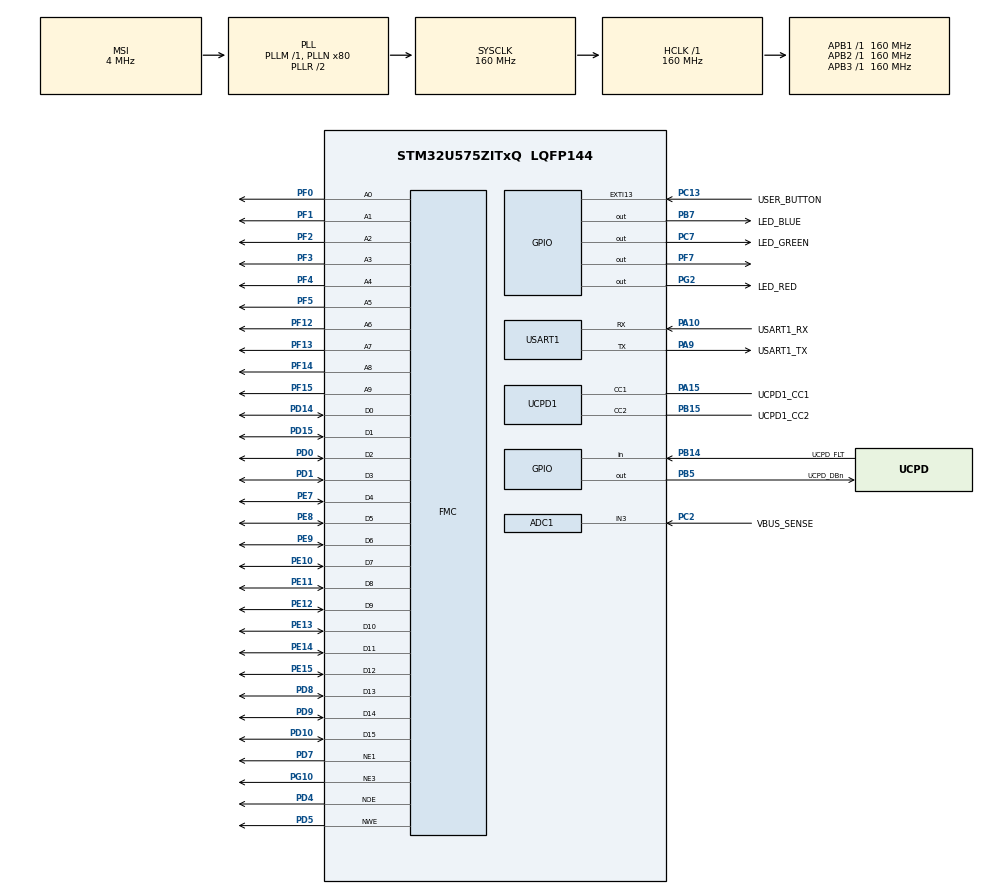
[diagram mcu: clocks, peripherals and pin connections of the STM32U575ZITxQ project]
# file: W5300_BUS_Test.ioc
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ADC1.NbrOfConversion=1
ADC1.Resolution=ADC_RESOLUTION_14B
ADC1.master=1
CORTEX_M33_NS.userName=CORTEX_M33
DCACHE1.DCACHE_Read_Burst_Type=DCACHE_READ_BURST_INCR
FMC.AddressSetupTime1=5
FMC.AddressSetupTime2=5
FMC.BusTurnAroundDuration1=5
FMC.BusTurnAroundDuration2=5
FMC.DataSetupTime1=5
FMC.DataSetupTime2=5
FMC.WriteOperation1=FMC_WRITE_OPERATION_ENABLE
FMC.WriteOperation2=FMC_WRITE_OPERATION_ENABLE
ICACHE.Size=ICACHE_REGIONSIZE_2MB
Mcu.Family=STM32U5
Mcu.Name=STM32U575ZITxQ
Mcu.Package=LQFP144
NVIC.PriorityGroup=NVIC_PRIORITYGROUP_3
PA10.GPIO_Label=USART1_RX
PA10.GPIO_PuPd=GPIO_PULLDOWN
PA10.GPIO_Speed=GPIO_SPEED_FREQ_VERY_HIGH
PA10.Mode=Asynchronous
PA10.Signal=USART1_RX
PA13\ (JTMS/SWDIO).Mode=Trace_Asynchronous_SW
PA13\ (JTMS/SWDIO).Signal=DEBUG_JTMS-SWDIO
PA14\ (JTCK/SWCLK).Mode=Trace_Asynchronous_SW
PA14\ (JTCK/SWCLK).Signal=DEBUG_JTCK-SWCLK
PA15\ (JTDI).GPIO_Label=UCPD1_CC1
PA15\ (JTDI).Mode=Sink_AllSignals
PA15\ (JTDI).Signal=UCPD1_CC1
PA9.GPIO_Label=USART1_TX
PA9.GPIO_PuPd=GPIO_PULLDOWN
PA9.GPIO_Speed=GPIO_SPEED_FREQ_VERY_HIGH
PA9.Mode=Asynchronous
PA9.Signal=USART1_TX
PB14.GPIO_Label=UCPD_FLT
PB14.Signal=GPIO_Input
PB15.GPIO_Label=UCPD1_CC2
PB15.Mode=Sink_AllSignals
PB15.Signal=UCPD1_CC2
PB3\ (JTDO/TRACESWO).Mode=Trace_Asynchronous_SW
PB3\ (JTDO/TRACESWO).Signal=DEBUG_JTDO-SWO
PB5.GPIO_Label=UCPD_DBn
PB5.Signal=GPIO_Output
PB7.GPIO_Label=LED_BLUE
PB7.GPIO_ModeDefaultOutputPP=GPIO_MODE_OUTPUT_PP
PB7.GPIO_PuPd=GPIO_PULLUP
PB7.GPIO_Speed=GPIO_SPEED_FREQ_HIGH
PB7.Signal=GPIO_Output
PC13.GPIO_Label=USER_BUTTON
PC13.GPIO_ModeDefaultEXTI=GPIO_MODE_IT_FALLING
PC13.Signal=GPXTI13
PC14-OSC32_IN\ (PC14).Mode=LSE-External-Oscillator
PC14-OSC32_IN\ (PC14).Signal=RCC_OSC32_IN
PC15-OSC32_OUT\ (PC15).Mode=LSE-External-Oscillator
PC15-OSC32_OUT\ (PC15).Signal=RCC_OSC32_OUT
PC2.GPIO_Label=VBUS_SENSE
PC2.Mode=IN3-Single-Ended
PC2.Signal=ADC1_IN3
PC7.GPIO_Label=LED_GREEN
PC7.GPIO_PuPd=GPIO_PULLUP
PC7.GPIO_Speed=GPIO_SPEED_FREQ_HIGH
PC7.Signal=GPIO_Output
PD0.Signal=FMC_D2_DA2
PD1.Signal=FMC_D3_DA3
PD10.Signal=FMC_D15_DA15
PD14.Signal=FMC_D0_DA0
PD15.Signal=FMC_D1_DA1
PD4.Signal=FMC_NOE
PD5.Signal=FMC_NWE
PD7.Mode=NorPsramChipSelect1_1
PD7.Signal=FMC_NE1
PD8.Signal=FMC_D13_DA13
PD9.Signal=FMC_D14_DA14
PE10.Signal=FMC_D7_DA7
PE11.Signal=FMC_D8_DA8
PE12.Signal=FMC_D9_DA9
PE13.Signal=FMC_D10_DA10
PE14.Signal=FMC_D11_DA11
PE15.Signal=FMC_D12_DA12
PE7.Signal=FMC_D4_DA4
PE8.Signal=FMC_D5_DA5
PE9.Signal=FMC_D6_DA6
PF0.Signal=FMC_A0
PF1.Signal=FMC_A1
PF12.Signal=FMC_A6
PF13.Signal=FMC_A7
PF14.Signal=FMC_A8
PF15.Signal=FMC_A9
PF2.Signal=FMC_A2
PF3.Signal=FMC_A3
PF4.Signal=FMC_A4
PF5.Signal=FMC_A5
PF7.Signal=GPIO_Output
PG10.Mode=NorPsramChipSelect3_2
PG10.Signal=FMC_NE3
PG2.GPIO_Label=LED_RED
PG2.GPIO_ModeDefaultOutputPP=GPIO_MODE_OUTPUT_PP
PG2.GPIO_PuPd=GPIO_PULLUP
PG2.GPIO_Speed=GPIO_SPEED_FREQ_HIGH
PG2.Signal=GPIO_Output
PWR.PowerMode=PWR_SMPS_SUPPLY
ProjectManager.HeapSize=0x200
ProjectManager.StackSize=0x400
ProjectManager.TargetToolchain=STM32CubeIDE
RCC.ADCFreq_Value=16000000
RCC.AHBFreq_Value=160000000
RCC.APB1Freq_Value=160000000
RCC.APB1TimFreq_Value=160000000
RCC.APB2Freq_Value=160000000
RCC.APB2TimFreq_Value=160000000
RCC.APB3Freq_Value=160000000
RCC.CortexFreq_Value=160000000
RCC.DACCLockSelectionVirtual=RCC_DAC1CLKSOURCE_LSI
RCC.DACCLockSelectionVirtualString=RCC_DAC1CLKSOURCE_LSI
RCC.EPOD_VALUE=4000000
RCC.HCLKFreq_Value=160000000
RCC.HSE_VALUE=16000000
RCC.HSI48_VALUE=48000000
RCC.HSI_VALUE=16000000
RCC.LSIDIV_VALUE=32000
RCC.MSI_VALUE=4000000
RCC.PLLN=80
RCC.SYSCLKFreq_VALUE=160000000
RCC.SYSCLKSource=RCC_SYSCLKSOURCE_PLLCLK
RCC.USBFreq_Value=48000000
RCC.VCOOutputFreq_Value=320000000
SH.FMC_A0.0=FMC_A0,10b-a1
SH.FMC_A0.1=FMC_A0,10b-a2
SH.FMC_A1.0=FMC_A1,10b-a1
SH.FMC_A1.1=FMC_A1,10b-a2
SH.FMC_A2.0=FMC_A2,10b-a1
SH.FMC_A2.1=FMC_A2,10b-a2
SH.FMC_A3.0=FMC_A3,10b-a1
SH.FMC_A3.1=FMC_A3,10b-a2
SH.FMC_A4.0=FMC_A4,10b-a1
SH.FMC_A4.1=FMC_A4,10b-a2
SH.FMC_A5.0=FMC_A5,10b-a1
SH.FMC_A5.1=FMC_A5,10b-a2
SH.FMC_A6.0=FMC_A6,10b-a1
SH.FMC_A6.1=FMC_A6,10b-a2
SH.FMC_A7.0=FMC_A7,10b-a1
SH.FMC_A7.1=FMC_A7,10b-a2
SH.FMC_A8.0=FMC_A8,10b-a1
SH.FMC_A8.1=FMC_A8,10b-a2
SH.FMC_A9.0=FMC_A9,10b-a1
SH.FMC_A9.1=FMC_A9,10b-a2
SH.FMC_D0_DA0.0=FMC_D0,16b-d1
SH.FMC_D0_DA0.1=FMC_D0,16b-d2
SH.FMC_D10_DA10.0=FMC_D10,16b-d1
SH.FMC_D10_DA10.1=FMC_D10,16b-d2
SH.FMC_D11_DA11.0=FMC_D11,16b-d1
SH.FMC_D11_DA11.1=FMC_D11,16b-d2
SH.FMC_D12_DA12.0=FMC_D12,16b-d1
SH.FMC_D12_DA12.1=FMC_D12,16b-d2
SH.FMC_D13_DA13.0=FMC_D13,16b-d1
SH.FMC_D13_DA13.1=FMC_D13,16b-d2
SH.FMC_D14_DA14.0=FMC_D14,16b-d1
SH.FMC_D14_DA14.1=FMC_D14,16b-d2
SH.FMC_D15_DA15.0=FMC_D15,16b-d1
SH.FMC_D15_DA15.1=FMC_D15,16b-d2
SH.FMC_D1_DA1.0=FMC_D1,16b-d1
SH.FMC_D1_DA1.1=FMC_D1,16b-d2
SH.FMC_D2_DA2.0=FMC_D2,16b-d1
SH.FMC_D2_DA2.1=FMC_D2,16b-d2
SH.FMC_D3_DA3.0=FMC_D3,16b-d1
SH.FMC_D3_DA3.1=FMC_D3,16b-d2
SH.FMC_D4_DA4.0=FMC_D4,16b-d1
SH.FMC_D4_DA4.1=FMC_D4,16b-d2
SH.FMC_D5_DA5.0=FMC_D5,16b-d1
SH.FMC_D5_DA5.1=FMC_D5,16b-d2
SH.FMC_D6_DA6.0=FMC_D6,16b-d1
SH.FMC_D6_DA6.1=FMC_D6,16b-d2
SH.FMC_D7_DA7.0=FMC_D7,16b-d1
SH.FMC_D7_DA7.1=FMC_D7,16b-d2
SH.FMC_D8_DA8.0=FMC_D8,16b-d1
SH.FMC_D8_DA8.1=FMC_D8,16b-d2
SH.FMC_D9_DA9.0=FMC_D9,16b-d1
SH.FMC_D9_DA9.1=FMC_D9,16b-d2
SH.FMC_NOE.0=FMC_NOE,Sram1
SH.FMC_NOE.1=FMC_NOE,Sram2
SH.FMC_NWE.0=FMC_NWE,Sram1
SH.FMC_NWE.1=FMC_NWE,Sram2
USART1.VirtualMode-Asynchronous=VM_ASYNC
VP_DCACHE1_VS_DCACHE.Mode=DCACHE_Activate
VP_ICACHE_VS_ENABLE_ICACHE_MEMORY.Mode=Memoryregions
VP_ICACHE_VS_ICACHE.Mode=DefaultMode
VP_LPBAMQUEUE_VS_QUEUE.Mode=QUEUEMODE
VP_LPBAM_VS_SIG1.Mode=SmartRun
VP_LPBAM_VS_SIG4.Mode=LPDMA1
VP_PWR_VS_DBSignals.Mode=DisableDeadBatterySignals
VP_PWR_VS_LPOM.Mode=PowerOptimisation
VP_PWR_VS_SECSignals.Mode=Security/Privilege
board=NUCLEO-U575ZI-Q

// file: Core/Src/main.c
/* USER CODE BEGIN Header */
/**
  ******************************************************************************
  * @file           : main.c
  * @brief          : Main program body
  ******************************************************************************
  * @attention
  *
  * Copyright (c) 2022 STMicroelectronics.
  * All rights reserved.
  *
  * This software is licensed under terms that can be found in the LICENSE file
  * in the root directory of this software component.
  * If no LICENSE file comes with this software, it is provided AS-IS.
  *
  ******************************************************************************
  */
/* USER CODE END Header */
#include "main.h"

/* USER CODE BEGIN Includes */
#include "socket.h"
#include "wizchip_conf.h"
#include "w5300.h"
#include "loopback.h"
/* USER CODE END Includes */

/* USER CODE BEGIN PTD */

#define RESET_W5300_GPIO_Port			GPIOF
#define RESET_W5300_Pin					GPIO_PIN_7

#define true					1
#define false					0

#define SOCK_TCPS       0
#define SOCK_UDPS       1
#define PORT_TCPS		5000
#define PORT_UDPS       3000
/* USER CODE END PTD */

ADC_HandleTypeDef hadc1;

DCACHE_HandleTypeDef hdcache1;

UART_HandleTypeDef huart1;

SRAM_HandleTypeDef hsram1;
SRAM_HandleTypeDef hsram2;

/* USER CODE BEGIN PV */
uint8_t wiznet_memsize[2][8] = {{8,8,8,8,8,8,8,8}, {8,8,8,8,8,8,8,8}};

#define ETH_MAX_BUF_SIZE		2048

uint8_t ethBuf0[ETH_MAX_BUF_SIZE];
uint8_t ethBuf1[ETH_MAX_BUF_SIZE];

wiz_NetInfo gWIZNETINFO = {
		.mac = {0x00, 0x08, 0xdc, 0, 0, 0},
		.ip = {192, 168, 15, 111},
		.sn = {255, 255, 255, 0},
		.gw = {192, 168, 15, 1},
		.dns = {0, 0, 0, 0},
		.dhcp = NETINFO_STATIC
};
wiz_NetInfo gWIZNETINFO1 = {
		.mac = {0x00, 0x08, 0xdc, 0, 0, 1},
		.ip = {192, 168, 15, 112},
		.sn = {255, 255, 255, 0},
		.gw = {192, 168, 15, 1},
		.dns = {0, 0, 0, 0},
		.dhcp = NETINFO_STATIC
};

/* USER CODE END PV */

void SystemClock_Config(void);
static void SystemPower_Config(void);
static void MX_GPIO_Init(void);
static void MX_ADC1_Init(void);
static void MX_UCPD1_Init(void);
static void MX_USART1_UART_Init(void);
static void MX_FMC_Init(void);
static void MX_DCACHE1_Init(void);
static void MX_ICACHE_Init(void);
/* USER CODE BEGIN PFP */
uint8_t rxData[2];

int _write(int fd, char *str, int len)
{
	for(int i=0; i<len; i++)
	{
		HAL_UART_Transmit(&huart1, (uint8_t *)&str[i], 1, 0xFFFF);
	}
	return len;
}

void HAL_UART_RxCpltCallback(UART_HandleTypeDef *huart) {

    /*
        This will be called once data is received successfully,
        via interrupts.
    */

     /*
       loop back received data
     */
     HAL_UART_Receive_IT(&huart1, rxData, 1);
     HAL_UART_Transmit(&huart1, rxData, 1, 1000);
}

void Reset_W5300()
{
	HAL_GPIO_WritePin(RESET_W5300_GPIO_Port, RESET_W5300_Pin, GPIO_PIN_RESET);
	HAL_Delay(10);
	HAL_GPIO_WritePin(RESET_W5300_GPIO_Port, RESET_W5300_Pin, GPIO_PIN_SET);
	HAL_Delay(100);
}
#if 0
void W5300_write(uint32_t addr, iodata_t wd)
{
	_W5300_DATA(addr) = wd;
}

iodata_t W5300_read(uint32_t addr)
{
	return _W5300_DATA(addr);
}
#endif
void W5300_write(uint32_t ChipAddr, uint32_t addr, iodata_t wd)
{
	_W5300_DATA(ChipAddr, addr) = wd;
}

iodata_t W5300_read(uint32_t ChipAddr, uint32_t addr)
{
	return _W5300_DATA(ChipAddr, addr);
}
void W5300CsEnable(void)
{

}
void W5300CsDisable(void)
{

}
void print_network_information(void)
{
    wizchip_getnetinfo(W5300_BANK_ADDR1, &gWIZNETINFO);
    printf("Mac address: %02x:%02x:%02x:%02x:%02x:%02x\n\r",gWIZNETINFO.mac[0],gWIZNETINFO.mac[1],gWIZNETINFO.mac[2],gWIZNETINFO.mac[3],gWIZNETINFO.mac[4],gWIZNETINFO.mac[5]);
    printf("IP address : %d.%d.%d.%d\n\r",gWIZNETINFO.ip[0],gWIZNETINFO.ip[1],gWIZNETINFO.ip[2],gWIZNETINFO.ip[3]);
    printf("SM Mask    : %d.%d.%d.%d\n\r",gWIZNETINFO.sn[0],gWIZNETINFO.sn[1],gWIZNETINFO.sn[2],gWIZNETINFO.sn[3]);
    printf("Gate way   : %d.%d.%d.%d\n\r",gWIZNETINFO.gw[0],gWIZNETINFO.gw[1],gWIZNETINFO.gw[2],gWIZNETINFO.gw[3]);
    printf("DNS Server : %d.%d.%d.%d\n\r",gWIZNETINFO.dns[0],gWIZNETINFO.dns[1],gWIZNETINFO.dns[2],gWIZNETINFO.dns[3]);
    wizchip_getnetinfo(W5300_BANK_ADDR3, &gWIZNETINFO1);
	printf("Mac address: %02x:%02x:%02x:%02x:%02x:%02x\n\r",gWIZNETINFO1.mac[0],gWIZNETINFO1.mac[1],gWIZNETINFO1.mac[2],gWIZNETINFO1.mac[3],gWIZNETINFO1.mac[4],gWIZNETINFO1.mac[5]);
	printf("IP address : %d.%d.%d.%d\n\r",gWIZNETINFO1.ip[0],gWIZNETINFO1.ip[1],gWIZNETINFO1.ip[2],gWIZNETINFO1.ip[3]);
	printf("SM Mask    : %d.%d.%d.%d\n\r",gWIZNETINFO1.sn[0],gWIZNETINFO1.sn[1],gWIZNETINFO1.sn[2],gWIZNETINFO1.sn[3]);
	printf("Gate way   : %d.%d.%d.%d\n\r",gWIZNETINFO1.gw[0],gWIZNETINFO1.gw[1],gWIZNETINFO1.gw[2],gWIZNETINFO1.gw[3]);
	printf("DNS Server : %d.%d.%d.%d\n\r",gWIZNETINFO1.dns[0],gWIZNETINFO1.dns[1],gWIZNETINFO1.dns[2],gWIZNETINFO1.dns[3]);
}

void _InitW5300(void)
{
	unsigned int tmpaddr[4];

	Reset_W5300();
	//reg_wizchip_bus_cbfunc(W5300_read, W5300_write);
	//reg_wizchip_cs_cbfunc(W5300CsEnable, W5300CsDisable);
	setMR(W5300_BANK_ADDR1,0xB800);
	printf("getMR(0x%x) = %04X\r\n",W5300_BANK_ADDR1,  getMR(W5300_BANK_ADDR1));
	HAL_Delay(100);
	printf("getMR(0x%x) = %04X\r\n",W5300_BANK_ADDR3,  getMR(W5300_BANK_ADDR3));
	HAL_Delay(100);

	if (ctlwizchip(W5300_BANK_ADDR1, CW_INIT_WIZCHIP, (void*)wiznet_memsize) == -1)
	{
		printf("W5300 memory initialization failed\r\n");
	}
	HAL_Delay(100);
	if (ctlwizchip(W5300_BANK_ADDR3, CW_INIT_WIZCHIP, (void*)wiznet_memsize) == -1)
	{
		printf("W5300 memory initialization failed\r\n");
	}
	HAL_Delay(100);

	ctlnetwork(W5300_BANK_ADDR1, CN_SET_NETINFO, (void *)&gWIZNETINFO);
	HAL_Delay(100);
	ctlnetwork(W5300_BANK_ADDR3, CN_SET_NETINFO, (void *)&gWIZNETINFO1);
	HAL_Delay(100);
	print_network_information();
}
/* USER CODE END PFP */

int main(void)
{

  /* MCU Configuration--------------------------------------------------------*/

  /* Reset of all peripherals, Initializes the Flash interface and the Systick. */
  HAL_Init();

  /* Configure the system clock */
  SystemClock_Config();

  /* Configure the System Power */
  SystemPower_Config();

  /* Initialize all configured peripherals */
  MX_GPIO_Init();
  MX_ADC1_Init();
  MX_UCPD1_Init();
  MX_USART1_UART_Init();
  MX_FMC_Init();
  MX_DCACHE1_Init();
  MX_ICACHE_Init();
  /* USER CODE BEGIN 2 */
  printf("Hello! W5300 BUS loopback System \r\n");
  HAL_UART_Receive_IT(&huart1, rxData, 1);
  _InitW5300();
  /* USER CODE END 2 */

  /* Infinite loop */
  /* USER CODE BEGIN WHILE */
  while (1)
  {
	 loopback_tcps(W5300_BANK_ADDR1, 0, ethBuf0, 3000);
	 loopback_tcps(W5300_BANK_ADDR3, 0, ethBuf1, 3001);
    /* USER CODE END WHILE */

  }
}

void SystemClock_Config(void)
{
  RCC_OscInitTypeDef RCC_OscInitStruct = {0};
  RCC_ClkInitTypeDef RCC_ClkInitStruct = {0};

  /** Configure the main internal regulator output voltage
  */
  if (HAL_PWREx_ControlVoltageScaling(PWR_REGULATOR_VOLTAGE_SCALE1) != HAL_OK)
  {
    Error_Handler();
  }

  /** Initializes the CPU, AHB and APB buses clocks
  */
  RCC_OscInitStruct.OscillatorType = RCC_OSCILLATORTYPE_HSI|RCC_OSCILLATORTYPE_MSI;
  RCC_OscInitStruct.HSIState = RCC_HSI_ON;
  RCC_OscInitStruct.HSICalibrationValue = RCC_HSICALIBRATION_DEFAULT;
  RCC_OscInitStruct.MSIState = RCC_MSI_ON;
  RCC_OscInitStruct.MSICalibrationValue = RCC_MSICALIBRATION_DEFAULT;
  RCC_OscInitStruct.MSIClockRange = RCC_MSIRANGE_4;
  RCC_OscInitStruct.PLL.PLLState = RCC_PLL_ON;
  RCC_OscInitStruct.PLL.PLLSource = RCC_PLLSOURCE_MSI;
  RCC_OscInitStruct.PLL.PLLMBOOST = RCC_PLLMBOOST_DIV1;
  RCC_OscInitStruct.PLL.PLLM = 1;
  RCC_OscInitStruct.PLL.PLLN = 80;
  RCC_OscInitStruct.PLL.PLLP = 2;
  RCC_OscInitStruct.PLL.PLLQ = 2;
  RCC_OscInitStruct.PLL.PLLR = 2;
  RCC_OscInitStruct.PLL.PLLRGE = RCC_PLLVCIRANGE_0;
  RCC_OscInitStruct.PLL.PLLFRACN = 0;
  if (HAL_RCC_OscConfig(&RCC_OscInitStruct) != HAL_OK)
  {
    Error_Handler();
  }

  /** Initializes the CPU, AHB and APB buses clocks
  */
  RCC_ClkInitStruct.ClockType = RCC_CLOCKTYPE_HCLK|RCC_CLOCKTYPE_SYSCLK
                              |RCC_CLOCKTYPE_PCLK1|RCC_CLOCKTYPE_PCLK2
                              |RCC_CLOCKTYPE_PCLK3;
  RCC_ClkInitStruct.SYSCLKSource = RCC_SYSCLKSOURCE_PLLCLK;
  RCC_ClkInitStruct.AHBCLKDivider = RCC_SYSCLK_DIV1;
  RCC_ClkInitStruct.APB1CLKDivider = RCC_HCLK_DIV1;
  RCC_ClkInitStruct.APB2CLKDivider = RCC_HCLK_DIV1;
  RCC_ClkInitStruct.APB3CLKDivider = RCC_HCLK_DIV1;

  if (HAL_RCC_ClockConfig(&RCC_ClkInitStruct, FLASH_LATENCY_4) != HAL_OK)
  {
    Error_Handler();
  }
}

/**
  * @brief Power Configuration
  * @retval None
  */
static void SystemPower_Config(void)
{
  HAL_PWREx_EnableVddIO2();

  /*
   * Switch to SMPS regulator instead of LDO
   */
  if (HAL_PWREx_ConfigSupply(PWR_SMPS_SUPPLY) != HAL_OK)
  {
    Error_Handler();
  }
}

static void MX_ADC1_Init(void)
{

  /** Common config
  */
  hadc1.Instance = ADC1;
  hadc1.Init.ClockPrescaler = ADC_CLOCK_ASYNC_DIV1;
  hadc1.Init.Resolution = ADC_RESOLUTION_14B;
  hadc1.Init.GainCompensation = 0;
  hadc1.Init.ScanConvMode = ADC_SCAN_DISABLE;
  hadc1.Init.EOCSelection = ADC_EOC_SINGLE_CONV;
  hadc1.Init.LowPowerAutoWait = DISABLE;
  hadc1.Init.ContinuousConvMode = DISABLE;
  hadc1.Init.NbrOfConversion = 1;
  hadc1.Init.DiscontinuousConvMode = DISABLE;
  hadc1.Init.DMAContinuousRequests = DISABLE;
  hadc1.Init.TriggerFrequencyMode = ADC_TRIGGER_FREQ_HIGH;
  hadc1.Init.Overrun = ADC_OVR_DATA_PRESERVED;
  hadc1.Init.LeftBitShift = ADC_LEFTBITSHIFT_NONE;
  hadc1.Init.ConversionDataManagement = ADC_CONVERSIONDATA_DR;
  hadc1.Init.OversamplingMode = DISABLE;
  if (HAL_ADC_Init(&hadc1) != HAL_OK)
  {
    Error_Handler();
  }

}

static void MX_DCACHE1_Init(void)
{

  hdcache1.Instance = DCACHE1;
  hdcache1.Init.ReadBurstType = DCACHE_READ_BURST_INCR;
  if (HAL_DCACHE_Init(&hdcache1) != HAL_OK)
  {
    Error_Handler();
  }

}

static void MX_ICACHE_Init(void)
{

  ICACHE_RegionConfigTypeDef pRegionConfig = {0};

  /** Configure and enable a region for memory remapping.
  */
  if (HAL_ICACHE_Disable() != HAL_OK)
  {
    Error_Handler();
  }
  pRegionConfig.BaseAddress = 0x0;
  pRegionConfig.RemapAddress = 0x0;
  pRegionConfig.Size = ICACHE_REGIONSIZE_2MB;
  pRegionConfig.TrafficRoute = ICACHE_MASTER1_PORT;
  pRegionConfig.OutputBurstType = ICACHE_OUTPUT_BURST_WRAP;
  if (HAL_ICACHE_EnableRemapRegion(ICACHE_REGION_0, &pRegionConfig) != HAL_OK)
  {
    Error_Handler();
  }

  /** Enable instruction cache (default 2-ways set associative cache)
  */
  if (HAL_ICACHE_Enable() != HAL_OK)
  {
    Error_Handler();
  }

}

static void MX_UCPD1_Init(void)
{

  LL_GPIO_InitTypeDef GPIO_InitStruct = {0};

  /* Peripheral clock enable */
  LL_APB1_GRP2_EnableClock(LL_APB1_GRP2_PERIPH_UCPD1);

  LL_AHB2_GRP1_EnableClock(LL_AHB2_GRP1_PERIPH_GPIOB);
  LL_AHB2_GRP1_EnableClock(LL_AHB2_GRP1_PERIPH_GPIOA);
  /**UCPD1 GPIO Configuration
  PB15   ------> UCPD1_CC2
  PA15 (JTDI)   ------> UCPD1_CC1
  */
  GPIO_InitStruct.Pin = LL_GPIO_PIN_15;
  GPIO_InitStruct.Mode = LL_GPIO_MODE_ANALOG;
  GPIO_InitStruct.Pull = LL_GPIO_PULL_NO;
  LL_GPIO_Init(GPIOB, &GPIO_InitStruct);

  GPIO_InitStruct.Pin = LL_GPIO_PIN_15;
  GPIO_InitStruct.Mode = LL_GPIO_MODE_ANALOG;
  GPIO_InitStruct.Pull = LL_GPIO_PULL_NO;
  LL_GPIO_Init(GPIOA, &GPIO_InitStruct);

}

static void MX_USART1_UART_Init(void)
{

  huart1.Instance = USART1;
  huart1.Init.BaudRate = 115200;
  huart1.Init.WordLength = UART_WORDLENGTH_8B;
  huart1.Init.StopBits = UART_STOPBITS_1;
  huart1.Init.Parity = UART_PARITY_NONE;
  huart1.Init.Mode = UART_MODE_TX_RX;
  huart1.Init.HwFlowCtl = UART_HWCONTROL_NONE;
  huart1.Init.OverSampling = UART_OVERSAMPLING_16;
  huart1.Init.OneBitSampling = UART_ONE_BIT_SAMPLE_DISABLE;
  huart1.Init.ClockPrescaler = UART_PRESCALER_DIV1;
  huart1.AdvancedInit.AdvFeatureInit = UART_ADVFEATURE_NO_INIT;
  if (HAL_UART_Init(&huart1) != HAL_OK)
  {
    Error_Handler();
  }
  if (HAL_UARTEx_SetTxFifoThreshold(&huart1, UART_TXFIFO_THRESHOLD_1_8) != HAL_OK)
  {
    Error_Handler();
  }
  if (HAL_UARTEx_SetRxFifoThreshold(&huart1, UART_RXFIFO_THRESHOLD_1_8) != HAL_OK)
  {
    Error_Handler();
  }
  if (HAL_UARTEx_DisableFifoMode(&huart1) != HAL_OK)
  {
    Error_Handler();
  }

}

/* FMC initialization function */
static void MX_FMC_Init(void)
{

  FMC_NORSRAM_TimingTypeDef Timing = {0};

  /** Perform the SRAM1 memory initialization sequence
  */
  hsram1.Instance = FMC_NORSRAM_DEVICE;
  hsram1.Extended = FMC_NORSRAM_EXTENDED_DEVICE;
  /* hsram1.Init */
  hsram1.Init.NSBank = FMC_NORSRAM_BANK1;
  hsram1.Init.DataAddressMux = FMC_DATA_ADDRESS_MUX_DISABLE;
  hsram1.Init.MemoryType = FMC_MEMORY_TYPE_SRAM;
  hsram1.Init.MemoryDataWidth = FMC_NORSRAM_MEM_BUS_WIDTH_16;
  hsram1.Init.BurstAccessMode = FMC_BURST_ACCESS_MODE_DISABLE;
  hsram1.Init.WaitSignalPolarity = FMC_WAIT_SIGNAL_POLARITY_LOW;
  hsram1.Init.WaitSignalActive = FMC_WAIT_TIMING_BEFORE_WS;
  hsram1.Init.WriteOperation = FMC_WRITE_OPERATION_ENABLE;
  hsram1.Init.WaitSignal = FMC_WAIT_SIGNAL_DISABLE;
  hsram1.Init.ExtendedMode = FMC_EXTENDED_MODE_DISABLE;
  hsram1.Init.AsynchronousWait = FMC_ASYNCHRONOUS_WAIT_DISABLE;
  hsram1.Init.WriteBurst = FMC_WRITE_BURST_DISABLE;
  hsram1.Init.ContinuousClock = FMC_CONTINUOUS_CLOCK_SYNC_ONLY;
  hsram1.Init.WriteFifo = FMC_WRITE_FIFO_ENABLE;
  hsram1.Init.NBLSetupTime = 0;
  hsram1.Init.PageSize = FMC_PAGE_SIZE_NONE;
  hsram1.Init.MaxChipSelectPulse = DISABLE;
  /* Timing */
  Timing.AddressSetupTime = 5;
  Timing.AddressHoldTime = 15;
  Timing.DataSetupTime = 5;
  Timing.DataHoldTime = 0;
  Timing.BusTurnAroundDuration = 5;
  Timing.CLKDivision = 16;
  Timing.DataLatency = 17;
  Timing.AccessMode = FMC_ACCESS_MODE_A;
  /* ExtTiming */

  if (HAL_SRAM_Init(&hsram1, &Timing, NULL) != HAL_OK)
  {
    Error_Handler( );
  }

  /** Perform the SRAM2 memory initialization sequence
  */
  hsram2.Instance = FMC_NORSRAM_DEVICE;
  hsram2.Extended = FMC_NORSRAM_EXTENDED_DEVICE;
  /* hsram2.Init */
  hsram2.Init.NSBank = FMC_NORSRAM_BANK3;
  hsram2.Init.DataAddressMux = FMC_DATA_ADDRESS_MUX_DISABLE;
  hsram2.Init.MemoryType = FMC_MEMORY_TYPE_SRAM;
  hsram2.Init.MemoryDataWidth = FMC_NORSRAM_MEM_BUS_WIDTH_16;
  hsram2.Init.BurstAccessMode = FMC_BURST_ACCESS_MODE_DISABLE;
  hsram2.Init.WaitSignalPolarity = FMC_WAIT_SIGNAL_POLARITY_LOW;
  hsram2.Init.WaitSignalActive = FMC_WAIT_TIMING_BEFORE_WS;
  hsram2.Init.WriteOperation = FMC_WRITE_OPERATION_ENABLE;
  hsram2.Init.WaitSignal = FMC_WAIT_SIGNAL_DISABLE;
  hsram2.Init.ExtendedMode = FMC_EXTENDED_MODE_DISABLE;
  hsram2.Init.AsynchronousWait = FMC_ASYNCHRONOUS_WAIT_DISABLE;
  hsram2.Init.WriteBurst = FMC_WRITE_BURST_DISABLE;
  hsram2.Init.ContinuousClock = FMC_CONTINUOUS_CLOCK_SYNC_ONLY;
  hsram2.Init.WriteFifo = FMC_WRITE_FIFO_ENABLE;
  hsram2.Init.NBLSetupTime = 0;
  hsram2.Init.PageSize = FMC_PAGE_SIZE_NONE;
  hsram2.Init.MaxChipSelectPulse = DISABLE;
  /* Timing */
  Timing.AddressSetupTime = 5;
  Timing.AddressHoldTime = 15;
  Timing.DataSetupTime = 5;
  Timing.DataHoldTime = 0;
  Timing.BusTurnAroundDuration = 5;
  Timing.CLKDivision = 16;
  Timing.DataLatency = 17;
  Timing.AccessMode = FMC_ACCESS_MODE_A;
  /* ExtTiming */

  if (HAL_SRAM_Init(&hsram2, &Timing, NULL) != HAL_OK)
  {
    Error_Handler( );
  }

}

static void MX_GPIO_Init(void)
{
  GPIO_InitTypeDef GPIO_InitStruct = {0};

  /* GPIO Ports Clock Enable */
  __HAL_RCC_GPIOC_CLK_ENABLE();
  __HAL_RCC_GPIOF_CLK_ENABLE();
  __HAL_RCC_GPIOE_CLK_ENABLE();
  __HAL_RCC_GPIOB_CLK_ENABLE();
  __HAL_RCC_GPIOD_CLK_ENABLE();
  __HAL_RCC_GPIOG_CLK_ENABLE();
  __HAL_RCC_GPIOA_CLK_ENABLE();

  /*Configure GPIO pin Output Level */
  HAL_GPIO_WritePin(GPIOF, GPIO_PIN_7, GPIO_PIN_RESET);

  /*Configure GPIO pin Output Level */
  HAL_GPIO_WritePin(LED_RED_GPIO_Port, LED_RED_Pin, GPIO_PIN_RESET);

  /*Configure GPIO pin Output Level */
  HAL_GPIO_WritePin(LED_GREEN_GPIO_Port, LED_GREEN_Pin, GPIO_PIN_RESET);

  /*Configure GPIO pin Output Level */
  HAL_GPIO_WritePin(GPIOB, UCPD_DBn_Pin|LED_BLUE_Pin, GPIO_PIN_RESET);

  /*Configure GPIO pin : USER_BUTTON_Pin */
  GPIO_InitStruct.Pin = USER_BUTTON_Pin;
  GPIO_InitStruct.Mode = GPIO_MODE_IT_FALLING;
  GPIO_InitStruct.Pull = GPIO_NOPULL;
  HAL_GPIO_Init(USER_BUTTON_GPIO_Port, &GPIO_InitStruct);

  /*Configure GPIO pin : PF7 */
  GPIO_InitStruct.Pin = GPIO_PIN_7;
  GPIO_InitStruct.Mode = GPIO_MODE_OUTPUT_PP;
  GPIO_InitStruct.Pull = GPIO_NOPULL;
  GPIO_InitStruct.Speed = GPIO_SPEED_FREQ_LOW;
  HAL_GPIO_Init(GPIOF, &GPIO_InitStruct);

  /*Configure GPIO pin : UCPD_FLT_Pin */
  GPIO_InitStruct.Pin = UCPD_FLT_Pin;
  GPIO_InitStruct.Mode = GPIO_MODE_INPUT;
  GPIO_InitStruct.Pull = GPIO_NOPULL;
  HAL_GPIO_Init(UCPD_FLT_GPIO_Port, &GPIO_InitStruct);

  /*Configure GPIO pin : LED_RED_Pin */
  GPIO_InitStruct.Pin = LED_RED_Pin;
  GPIO_InitStruct.Mode = GPIO_MODE_OUTPUT_PP;
  GPIO_InitStruct.Pull = GPIO_PULLUP;
  GPIO_InitStruct.Speed = GPIO_SPEED_FREQ_HIGH;
  HAL_GPIO_Init(LED_RED_GPIO_Port, &GPIO_InitStruct);

  /*Configure GPIO pin : LED_GREEN_Pin */
  GPIO_InitStruct.Pin = LED_GREEN_Pin;
  GPIO_InitStruct.Mode = GPIO_MODE_OUTPUT_PP;
  GPIO_InitStruct.Pull = GPIO_PULLUP;
  GPIO_InitStruct.Speed = GPIO_SPEED_FREQ_HIGH;
  HAL_GPIO_Init(LED_GREEN_GPIO_Port, &GPIO_InitStruct);

  /*Configure GPIO pin : UCPD_DBn_Pin */
  GPIO_InitStruct.Pin = UCPD_DBn_Pin;
  GPIO_InitStruct.Mode = GPIO_MODE_OUTPUT_PP;
  GPIO_InitStruct.Pull = GPIO_NOPULL;
  GPIO_InitStruct.Speed = GPIO_SPEED_FREQ_LOW;
  HAL_GPIO_Init(UCPD_DBn_GPIO_Port, &GPIO_InitStruct);

  /*Configure GPIO pin : LED_BLUE_Pin */
  GPIO_InitStruct.Pin = LED_BLUE_Pin;
  GPIO_InitStruct.Mode = GPIO_MODE_OUTPUT_PP;
  GPIO_InitStruct.Pull = GPIO_PULLUP;
  GPIO_InitStruct.Speed = GPIO_SPEED_FREQ_HIGH;
  HAL_GPIO_Init(LED_BLUE_GPIO_Port, &GPIO_InitStruct);

}

void Error_Handler(void)
{
  __disable_irq();
  while (1)
  {
  }
}
